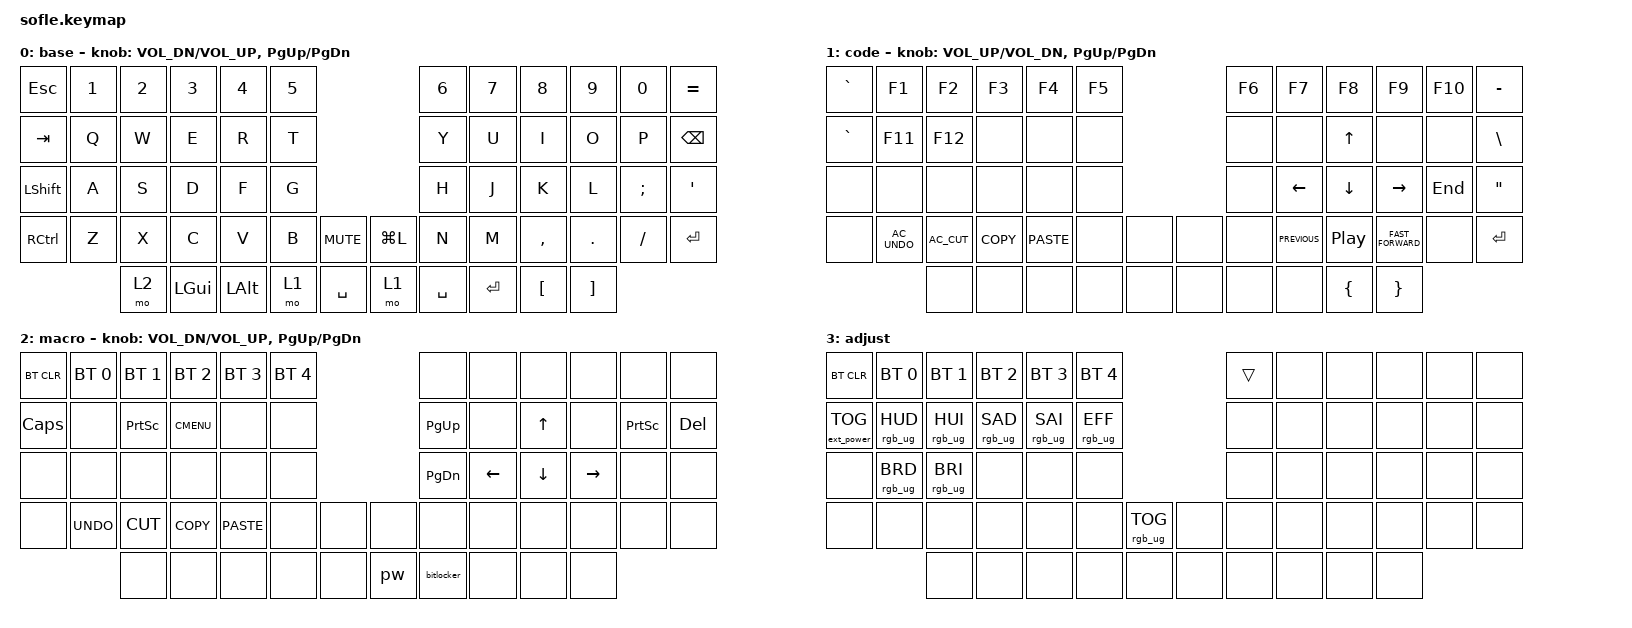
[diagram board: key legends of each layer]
/*
 * Copyright (c) 2020 The ZMK Contributors
 *
 * SPDX-License-Identifier: MIT
 */

#include <behaviors.dtsi>
#include <dt-bindings/zmk/bt.h>
#include <dt-bindings/zmk/ext_power.h>
#include <dt-bindings/zmk/keys.h>
#include <dt-bindings/zmk/rgb.h>

#define BASE 0
#define LOWER 1
#define RAISE 2
#define ADJUST 3

/ {
    // Activate ADJUST layer by pressing raise and lower

    conditional_layers {
        compatible = "zmk,conditional-layers";

        adjust_layer {
            if-layers = <1 2>;
            then-layer = <3>;
        };
    };

    macros {
        pw: pw {
            compatible = "zmk,behavior-macro";
            #binding-cells = <0>;
            bindings = <&kp LS(W) &kp N3 &kp D &kp N &kp E &kp S &kp D &kp AT &kp Y &kp EXCL &kp N9 &kp N8 &kp N4 &kp N5 &kp EXCL>;
            label = "PW";
            wait-ms = <10>;
        };

        bitlocker: bitlocker {
            compatible = "zmk,behavior-macro";
            #binding-cells = <0>;
            bindings = <&kp N5 &kp N0 &kp N7 &kp N0 &kp N2 &kp N3 &kp N1 &kp N8 &kp N7 &kp N8 &kp N3 &kp N6 &kp N3 &kp N7 &kp N6 &kp N3 &kp N6 &kp N5 &kp N3 &kp N7 &kp N5 &kp N3 &kp N6 &kp N4 &kp N1 &kp N0 &kp N5 &kp N9 &kp N0 &kp N8 &kp N7 &kp N0 &kp N8 &kp N5 &kp N4 &kp N3 &kp N0 &kp N3 &kp N1 &kp N9 &kp N5 &kp N5 &kp N3 &kp N3 &kp N2 &kp N5 &kp N5 &kp N2>;
            label = "BITLOCKER";
            wait-ms = <100>;
        };
    };

    keymap {
        compatible = "zmk,keymap";

        base_layer {
            label = "base";

            // ------------------------------------------------------------------------------------------------------------
            // |   `   |  1  |  2  |  3   |  4   |  5   |                   |  6   |  7    |  8    |  9   |   0   |       |
            // |  ESC  |  Q  |  W  |  E   |  R   |  T   |                   |  Y   |  U    |  I    |  O   |   P   | BKSPC |
            // |  TAB  |  A  |  S  |  D   |  F   |  G   |                   |  H   |  J    |  K    |  L   |   ;   |   '   |
            // | SHIFT |  Z  |  X  |  C   |  V   |  B   |  MUTE  |  |       |  N   |  M    |  ,    |  .   |   /   | SHIFT |
            //               | GUI | ALT  | CTRL | LOWER|  ENTER |  | SPACE | RAISE| CTRL  | ALT   | GUI  |

            bindings = <
&kp ESC     &kp N1  &kp N2  &kp N3    &kp N4    &kp N5                           &kp N6     &kp N7     &kp N8            &kp N9             &kp N0    &kp EQUAL
&kp TAB     &kp Q   &kp W   &kp E     &kp R     &kp T                            &kp Y      &kp U      &kp I             &kp O              &kp P     &kp BACKSPACE
&kp LSHIFT  &kp A   &kp S   &kp D     &kp F     &kp G                            &kp H      &kp J      &kp K             &kp L              &kp SEMI  &kp SQT
&kp RCTRL   &kp Z   &kp X   &kp C     &kp V     &kp B   &kp C_MUTE    &kp LG(L)  &kp N      &kp M      &kp COMMA         &kp DOT            &kp FSLH  &kp ENTER
                    &mo 2   &kp LGUI  &kp LALT  &mo 1   &kp SPACE     &mo 1      &kp SPACE  &kp ENTER  &kp LEFT_BRACKET  &kp RIGHT_BRACKET
            >;

            sensor-bindings =
                <&inc_dec_kp C_VOL_DN C_VOL_UP>,
                <&inc_dec_kp PG_UP PG_DN>;
        };

        code_layer {
            label = "code";

            // TODO: Some binds are waiting for shifted keycode support.
            // ------------------------------------------------------------------------------------------------------------
            // |       |  F1 |  F2 |  F3  |  F4  |  F5  |                   |  F6  |  F7   |  F8   |  F9  |  F10  |  F11  |
            // |   `   |  1  |  2  |  3   |  4   |  5   |                   |  6   |  7    |  8    |  9   |   0   |  F12  |
            // |       |  !  |  @  |  #   |  $   |  %   |                   |  ^   |  &    |  *    |  (   |   )   |   |   |
            // |       |  =  |  -  |  +   |  {   |  }   |        |  |       |  [   |  ]    |  ;    |  :   |   \   |       |
            //               |     |      |      |      |        |  |       |      |       |       |      |

            bindings = <
&kp GRAVE  &kp F1         &kp F2        &kp F3      &kp F4       &kp F5                  &kp F6  &kp F7          &kp F8            &kp F9              &kp F10  &kp MINUS
&kp GRAVE  &kp F11        &kp F12       &none       &none        &none                   &none   &none           &kp UP_ARROW      &none               &none    &kp BACKSLASH
&none      &none          &none         &none       &none        &none                   &none   &kp LEFT_ARROW  &kp DOWN_ARROW    &kp RIGHT_ARROW     &kp END  &kp DOUBLE_QUOTES
&none      &kp C_AC_UNDO  &kp C_AC_CUT  &kp K_COPY  &kp K_PASTE  &none   &none    &none  &none   &kp C_PREVIOUS  &kp C_PLAY_PAUSE  &kp C_FAST_FORWARD  &none    &kp ENTER
                          &none         &none       &none        &none   &none    &none  &none   &none           &kp LEFT_BRACE    &kp RIGHT_BRACE
            >;

            sensor-bindings = <&inc_dec_kp C_VOL_UP C_VOL_DN &inc_dec_kp PG_UP PG_DN>;
        };

        macro_layer {
            label = "macro";

            // ------------------------------------------------------------------------------------------------------------
            // | BTCLR | BT1  | BT2  |  BT3  |  BT4  |  BT5 |                |      |      |       |      |       |       |
            // |       | INS  | PSCR | GUI   |       |      |                | PGUP |      |   ^   |      |       |       |
            // |       | ALT  | CTRL | SHIFT |       | CAPS |                | PGDN |   <- |   v   |  ->  |  DEL  | BKSPC |
            // |       | UNDO | CUT  | COPY  | PASTE |      |      |  |      |      |      |       |      |       |       |
            //                |      |       |       |      |      |  |      |      |      |       |      |

            bindings = <
&bt BT_CLR  &bt BT_SEL 0  &bt BT_SEL 1  &bt BT_SEL 2  &bt BT_SEL 3  &bt BT_SEL 4                  &none       &none     &none     &none      &none      &none
&kp CLCK    &none         &kp PSCRN     &kp K_CMENU   &none         &none                         &kp PG_UP   &none     &kp UP    &none      &kp PSCRN  &kp DEL
&none       &none         &none         &none         &none         &none                         &kp PG_DN   &kp LEFT  &kp DOWN  &kp RIGHT  &none      &none
&none       &kp K_UNDO    &kp K_CUT     &kp K_COPY    &kp K_PASTE   &none         &none    &none  &none       &none     &none     &none      &none      &none
                          &none         &none         &none         &none         &none    &pw    &bitlocker  &none     &none     &none
            >;

            sensor-bindings =
                <&inc_dec_kp C_VOL_DN C_VOL_UP>,
                <&inc_dec_kp PG_UP PG_DN>;
        };

        adjust_layer {
            // ----------------------------------------------------------------------------------------------------------------------------
            // | BTCLR  |  BT1    |  BT2    |   BT3   |   BT4   |   BT5   |                  |      |      |       |      |       |       |
            // | EXTPWR | RGB_HUD | RGB_HUI | RGB_SAD | RGB_SAI | RGB_EFF |                  |      |      |       |      |       |       |
            // |        | RGB_BRD | RGB_BRI |         |         |         |                  |      |      |       |      |       |       |
            // |        |         |         |         |         |         | RGB_TOG | |      |      |      |       |      |       |       |
            //                    |         |         |         |         |         | |      |      |      |       |      |

            label = "adjust";
            bindings = <
&bt BT_CLR         &bt BT_SEL 0     &bt BT_SEL 1     &bt BT_SEL 2     &bt BT_SEL 3     &bt BT_SEL 4                               &trans  &none  &none  &none  &none  &none
&ext_power EP_TOG  &rgb_ug RGB_HUD  &rgb_ug RGB_HUI  &rgb_ug RGB_SAD  &rgb_ug RGB_SAI  &rgb_ug RGB_EFF                            &none   &none  &none  &none  &none  &none
&none              &rgb_ug RGB_BRD  &rgb_ug RGB_BRI  &none            &none            &none                                      &none   &none  &none  &none  &none  &none
&none              &none            &none            &none            &none            &none            &rgb_ug RGB_TOG    &none  &none   &none  &none  &none  &none  &none
                                    &none            &none            &none            &none            &none              &none  &none   &none  &none  &none
            >;
        };
    };
};
